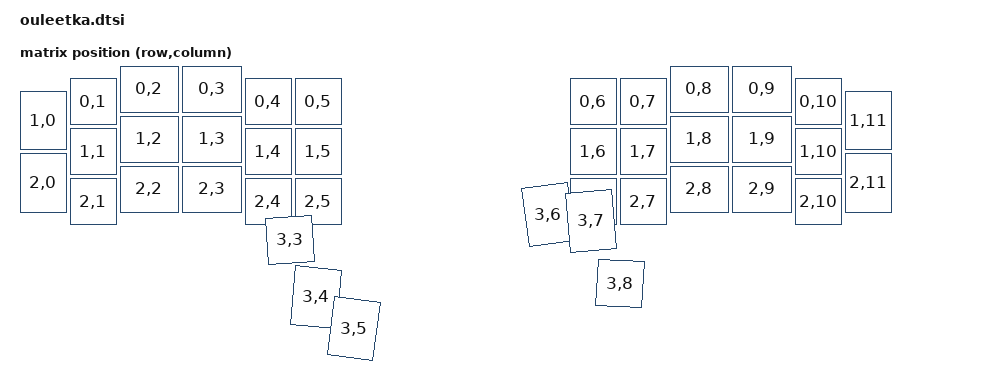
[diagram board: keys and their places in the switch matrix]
#include <physical_layouts.dtsi>
#include <dt-bindings/zmk/matrix_transform.h>

/ {
    chosen {
        zephyr,display = &oled;
        zmk,kscan = &kscan0;
    };

    matrix_transform0: matrix_transform {
        compatible = "zmk,matrix-transform";
        columns = <12>;
        rows = <4>;
//                  | S5  | S4  | S3  | S2  | S1  |  | S1  | S2  | S3  | S4  | S5  |
//            | S11 | S10 | S9  | S8  | S7  | S6  |  | S6  | S7  | S8  | S9  | S10 | S11 |
//            | S17 | S16 | S15 | S14 | S13 | S12 |  | S12 | S13 | S14 | S15 | S16 | S17 |
//                              | S20 | S19 | S18 |  | S18 | S19 | S20 |
    map = <
            RC(0,1) RC(0,2) RC(0,3) RC(0,4) RC(0,5)  RC(0,6) RC(0,7) RC(0,8) RC(0,9) RC(0,10)
    RC(1,0) RC(1,1) RC(1,2) RC(1,3) RC(1,4) RC(1,5)  RC(1,6) RC(1,7) RC(1,8) RC(1,9) RC(1,10) RC(1,11)
    RC(2,0) RC(2,1) RC(2,2) RC(2,3) RC(2,4) RC(2,5)  RC(2,6) RC(2,7) RC(2,8) RC(2,9) RC(2,10) RC(2,11)
                            RC(3,3) RC(3,4) RC(3,5)  RC(3,6) RC(3,7) RC(3,8)
        >;
    };

    kscan0: kscan {
        compatible = "zmk,kscan-gpio-matrix";
        wakeup-source;
        diode-direction = "col2row";
    };

    physical_layout0: physical_layout_0 {
        compatible = "zmk,physical-layout";
        display-name = "Ouleetka Layout";
        transform = <&matrix_transform0>;
        keys  //                     w   h    x    y     rot    rx    ry
            = <&key_physical_attrs 100 100  100   25       0     0     0>
            , <&key_physical_attrs 125 100  200    0       0     0     0>
            , <&key_physical_attrs 125 100  325    0       0     0     0>
            , <&key_physical_attrs 100 100  450   25       0     0     0>
            , <&key_physical_attrs 100 100  550   25       0     0     0>
            , <&key_physical_attrs 100 100 1100   25       0     0     0>
            , <&key_physical_attrs 100 100 1200   25       0     0     0>
            , <&key_physical_attrs 125 100 1300    0       0     0     0>
            , <&key_physical_attrs 125 100 1425    0       0     0     0>
            , <&key_physical_attrs 100 100 1550   25       0     0     0>
            , <&key_physical_attrs 100 125    0   50       0     0     0>
            , <&key_physical_attrs 100 100  100  125       0     0     0>
            , <&key_physical_attrs 125 100  200  100       0     0     0>
            , <&key_physical_attrs 125 100  325  100       0     0     0>
            , <&key_physical_attrs 100 100  450  125       0     0     0>
            , <&key_physical_attrs 100 100  550  125       0     0     0>
            , <&key_physical_attrs 100 100 1100  125       0     0     0>
            , <&key_physical_attrs 100 100 1200  125       0     0     0>
            , <&key_physical_attrs 125 100 1300  100       0     0     0>
            , <&key_physical_attrs 125 100 1425  100       0     0     0>
            , <&key_physical_attrs 100 100 1550  125       0     0     0>
            , <&key_physical_attrs 100 125 1650   50       0     0     0>
            , <&key_physical_attrs 100 125    0  175       0     0     0>
            , <&key_physical_attrs 100 100  100  225       0     0     0>
            , <&key_physical_attrs 125 100  200  200       0     0     0>
            , <&key_physical_attrs 125 100  325  200       0     0     0>
            , <&key_physical_attrs 100 100  450  225       0     0     0>
            , <&key_physical_attrs 100 100  550  225       0     0     0>
            , <&key_physical_attrs 100 100 1100  225       0     0     0>
            , <&key_physical_attrs 100 100 1200  225       0     0     0>
            , <&key_physical_attrs 125 100 1300  200       0     0     0>
            , <&key_physical_attrs 125 100 1425  200       0     0     0>
            , <&key_physical_attrs 100 100 1550  225       0     0     0>
            , <&key_physical_attrs 100 125 1650  175       0     0     0>
            , <&key_physical_attrs 100 100  475  330  (-300)     0     0>
            , <&key_physical_attrs 100 125  585  350     500     0     0>
            , <&key_physical_attrs 100 125  685  375     750     0     0>
            , <&key_physical_attrs 100 125  962  375  (-750)     0     0>
            , <&key_physical_attrs 100 125 1065  350  (-500)     0     0>
            , <&key_physical_attrs 100 100 1175  325     300     0     0>
            ;
    };
};

&pro_micro_i2c {
    status = "okay";

    oled: ssd1306@3c {
        compatible = "solomon,ssd1306fb";
        reg = <0x3c>;
        width = <128>;
        height = <32>;
        segment-offset = <0>;
        page-offset = <0>;
        display-offset = <0>;
        multiplex-ratio = <31>;
        segment-remap;
        com-invdir;
        com-sequential;
        inversion-on;
        prechargep = <0x22>;
    };
};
